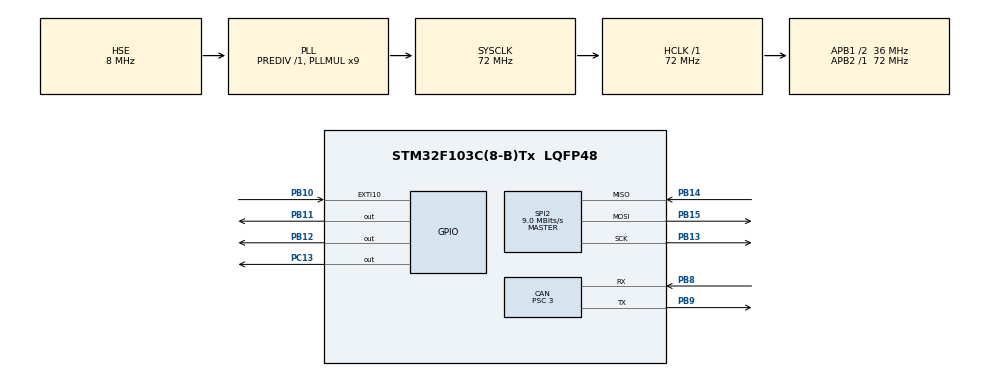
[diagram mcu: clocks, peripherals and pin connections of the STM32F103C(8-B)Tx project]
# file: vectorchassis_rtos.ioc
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CAN.BS1=CAN_BS1_8TQ
CAN.BS2=CAN_BS2_3TQ
CAN.CalculateTimeBit=1000
CAN.CalculateTimeQuantum=83.33333333333334
CAN.Prescaler=3
FREERTOS.Tasks01=nAppTask,8,128,AppTaskCreate,Default,NULL,Dynamic,NULL,NULL
FREERTOS.configTOTAL_HEAP_SIZE=10240
Mcu.Family=STM32F1
Mcu.Name=STM32F103C(8-B)Tx
Mcu.Package=LQFP48
NVIC.EXTI15_10_IRQn=true\:5\:0\:false\:false\:true\:true\:true\:true
NVIC.PriorityGroup=NVIC_PRIORITYGROUP_4
NVIC.TIM4_IRQn=true\:0\:0\:false\:false\:true\:false\:false\:true
NVIC.TimeBase=TIM4_IRQn
NVIC.TimeBaseIP=TIM4
PA13.Mode=Serial_Wire
PA13.Signal=SYS_JTMS-SWDIO
PA14.Mode=Serial_Wire
PA14.Signal=SYS_JTCK-SWCLK
PB10.GPIO_ModeDefaultEXTI=GPIO_MODE_IT_FALLING
PB10.GPIO_PuPd=GPIO_PULLUP
PB10.Signal=GPXTI10
PB11.Signal=GPIO_Output
PB12.Signal=GPIO_Output
PB13.Mode=Full_Duplex_Master
PB13.Signal=SPI2_SCK
PB14.Mode=Full_Duplex_Master
PB14.Signal=SPI2_MISO
PB15.Mode=Full_Duplex_Master
PB15.Signal=SPI2_MOSI
PB8.GPIO_PuPd=GPIO_PULLUP
PB8.Mode=Master
PB8.Signal=CAN_RX
PB9.Mode=Master
PB9.Signal=CAN_TX
PC13-TAMPER-RTC.Signal=GPIO_Output
PD0-OSC_IN.Mode=HSE-External-Oscillator
PD0-OSC_IN.Signal=RCC_OSC_IN
PD1-OSC_OUT.Mode=HSE-External-Oscillator
PD1-OSC_OUT.Signal=RCC_OSC_OUT
ProjectManager.HeapSize=0x200
ProjectManager.StackSize=0x400
ProjectManager.TargetToolchain=MDK-ARM V5.27
RCC.AHBFreq_Value=72000000
RCC.APB1CLKDivider=RCC_HCLK_DIV2
RCC.APB1Freq_Value=36000000
RCC.APB1TimFreq_Value=72000000
RCC.APB2Freq_Value=72000000
RCC.APB2TimFreq_Value=72000000
RCC.HCLKFreq_Value=72000000
RCC.PLLMUL=RCC_PLL_MUL9
RCC.PLLSourceVirtual=RCC_PLLSOURCE_HSE
RCC.SYSCLKFreq_VALUE=72000000
RCC.SYSCLKSource=RCC_SYSCLKSOURCE_PLLCLK
RCC.USBFreq_Value=72000000
SPI2.BaudRatePrescaler=SPI_BAUDRATEPRESCALER_4
SPI2.CalculateBaudRate=9.0 MBits/s
SPI2.Direction=SPI_DIRECTION_2LINES
SPI2.Mode=SPI_MODE_MASTER
SPI2.VirtualType=VM_MASTER
VP_FREERTOS_VS_CMSIS_V2.Mode=CMSIS_V2
VP_SYS_VS_tim4.Mode=TIM4
board=custom

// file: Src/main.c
/* USER CODE BEGIN Header */
/**
  ******************************************************************************
  * @file           : main.c
  * @brief          : Main program body
  ******************************************************************************
  * @attention
  *
  * <h2><center>&copy; Copyright (c) 2020 STMicroelectronics.
  * All rights reserved.</center></h2>
  *
  * This software component is licensed by ST under Ultimate Liberty license
  * SLA0044, the "License"; You may not use this file except in compliance with
  * the License. You may obtain a copy of the License at:
  *                             www.st.com/SLA0044
  *
  *******************************************************************************/

	/*todo list:修改翻翻地盘代码，修改系统时基为TIM1而不用systick�?*/
	//修改寻零的时候记得修�? signal.c中处理can数据的地方，里面的角度是减去
	//模型中vesc驱动轮的线�?�度还没算上轮子的用的也是电角�??
/* USER CODE END Header */

#include "main.h"
#include "cmsis_os.h"
#include "can.h"
#include "spi.h"
#include "gpio.h"

/* USER CODE BEGIN Includes */
#include "vesc.h"
/* USER CODE END Includes */

/* USER CODE BEGIN PTD */
void SetCanFliter(void)
{
  CAN_FilterTypeDef  sFilterConfig;

  sFilterConfig.FilterBank = 0;
  sFilterConfig.FilterMode = CAN_FILTERMODE_IDMASK;
  sFilterConfig.FilterScale = CAN_FILTERSCALE_32BIT;
  sFilterConfig.FilterIdHigh = 0x0000;
  sFilterConfig.FilterIdLow = 0x0000;
  sFilterConfig.FilterMaskIdHigh = 0x0000;
  sFilterConfig.FilterMaskIdLow = 0x0000;
  sFilterConfig.FilterFIFOAssignment = CAN_RX_FIFO0;
  sFilterConfig.FilterActivation = ENABLE;
  sFilterConfig.SlaveStartFilterBank = 14;

  if(HAL_CAN_ConfigFilter(&hcan, &sFilterConfig) != HAL_OK)
  {
    Error_Handler();
  }

  if (HAL_CAN_Start(&hcan) != HAL_OK)
  {
    Error_Handler();
  }

  if (HAL_CAN_ActivateNotification(&hcan, CAN_IT_RX_FIFO0_MSG_PENDING) != HAL_OK)
  {
    Error_Handler();
  }
	if (HAL_CAN_ActivateNotification(&hcan, CAN_IT_RX_FIFO1_MSG_PENDING) != HAL_OK)
  {
    Error_Handler();
  }
}
/* USER CODE END PTD */

void SystemClock_Config(void);
void MX_FREERTOS_Init(void);

int main(void)
{

  /* MCU Configuration--------------------------------------------------------*/

  /* Reset of all peripherals, Initializes the Flash interface and the Systick. */
  HAL_Init();

  /* Configure the system clock */
  SystemClock_Config();

  /* Initialize all configured peripherals */
  MX_GPIO_Init();
  MX_CAN_Init();
  MX_SPI2_Init();
  /* USER CODE BEGIN 2 */
  SetCanFliter();
  /* USER CODE END 2 */
  /* Init scheduler */
  osKernelInitialize();

  /* Call init function for freertos objects (in freertos.c) */
  MX_FREERTOS_Init();

  /* Start scheduler */
  osKernelStart();

  /* We should never get here as control is now taken by the scheduler */

  /* Infinite loop */
  while (1)
  {

  }
}

void SystemClock_Config(void)
{
  RCC_OscInitTypeDef RCC_OscInitStruct = {0};
  RCC_ClkInitTypeDef RCC_ClkInitStruct = {0};

  /** Initializes the CPU, AHB and APB busses clocks
  */
  RCC_OscInitStruct.OscillatorType = RCC_OSCILLATORTYPE_HSE;
  RCC_OscInitStruct.HSEState = RCC_HSE_ON;
  RCC_OscInitStruct.HSEPredivValue = RCC_HSE_PREDIV_DIV1;
  RCC_OscInitStruct.HSIState = RCC_HSI_ON;
  RCC_OscInitStruct.PLL.PLLState = RCC_PLL_ON;
  RCC_OscInitStruct.PLL.PLLSource = RCC_PLLSOURCE_HSE;
  RCC_OscInitStruct.PLL.PLLMUL = RCC_PLL_MUL9;
  if (HAL_RCC_OscConfig(&RCC_OscInitStruct) != HAL_OK)
  {
    Error_Handler();
  }
  /** Initializes the CPU, AHB and APB busses clocks
  */
  RCC_ClkInitStruct.ClockType = RCC_CLOCKTYPE_HCLK|RCC_CLOCKTYPE_SYSCLK
                              |RCC_CLOCKTYPE_PCLK1|RCC_CLOCKTYPE_PCLK2;
  RCC_ClkInitStruct.SYSCLKSource = RCC_SYSCLKSOURCE_PLLCLK;
  RCC_ClkInitStruct.AHBCLKDivider = RCC_SYSCLK_DIV1;
  RCC_ClkInitStruct.APB1CLKDivider = RCC_HCLK_DIV2;
  RCC_ClkInitStruct.APB2CLKDivider = RCC_HCLK_DIV1;

  if (HAL_RCC_ClockConfig(&RCC_ClkInitStruct, FLASH_LATENCY_2) != HAL_OK)
  {
    Error_Handler();
  }
}

void HAL_TIM_PeriodElapsedCallback(TIM_HandleTypeDef *htim)
{
  if (htim->Instance == TIM4) {
    HAL_IncTick();
  }
}

void Error_Handler(void)
{
  /* USER CODE BEGIN Error_Handler_Debug */
  while(1);
  /* User can add his own implementation to report the HAL error return state */

  /* USER CODE END Error_Handler_Debug */
}

/************************ (C) COPYRIGHT STMicroelectronics *****END OF FILE****/

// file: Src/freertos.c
/* USER CODE BEGIN Header */
/**
  ******************************************************************************
  * File Name          : freertos.c
  * Description        : Code for freertos applications
  ******************************************************************************
  * @attention
  *
  * <h2><center>&copy; Copyright (c) 2020 STMicroelectronics.
  * All rights reserved.</center></h2>
  *
  * This software component is licensed by ST under Ultimate Liberty license
  * SLA0044, the "License"; You may not use this file except in compliance with
  * the License. You may obtain a copy of the License at:
  *                             www.st.com/SLA0044
  *
  ******************************************************************************
  */
/* USER CODE END Header */

#include "FreeRTOS.h"
#include "task.h"
#include "main.h"
#include "cmsis_os.h"

/* USER CODE BEGIN Includes */
/* --- task --- */
#include "chassis.h"
#include "emergency.h"
#include "period.h"
#include "command.h"
#include "support.h"
#include "signal.h"
/* --- signal --- */

/* --- user lib --- */
#include "nrf24l01.h"
/* USER CODE END Includes */

/* Definitions for nAppTask */
osThreadId_t nAppTaskHandle;
const osThreadAttr_t nAppTask_attributes = {
  .name = "nAppTask",
  .priority = (osPriority_t) osPriorityLow,
  .stack_size = 128
};

void AppTaskCreate(void *argument);

void MX_FREERTOS_Init(void); /* (MISRA C 2004 rule 8.1) */

void MX_FREERTOS_Init(void) {
  /* USER CODE BEGIN Init */
  chassis_init();
  NRF24L01_Init();/* --- to do list : check false also unblock  --- */
  /* USER CODE END Init */

  /* Create the thread(s) */
  /* creation of nAppTask */
  nAppTaskHandle = osThreadNew(AppTaskCreate, NULL, &nAppTask_attributes);

  /* USER CODE BEGIN RTOS_THREADS */

	/* --- creat other task --- */
  //taskENTER_CRITICAL(); //进入临界
	emergency_init();
	canread_init();
	period_init();
	command_init();
	support_init();
  //taskEXIT_CRITICAL();
  /* add threads, ... */
  /* USER CODE END RTOS_THREADS */

}

void AppTaskCreate(void *argument)
{
  /* USER CODE BEGIN AppTaskCreate */

//	taskENTER_CRITICAL(); //进入临界
//	/* --- creat other task --- */
//	chassis_init();
//	emergency_init();
//	canread_init();
//	period_init();
//	command_init();
//	support_init();
//	//vTaskDelete(AppTaskCreate);
//	taskEXIT_CRITICAL();
  for(;;)
  {
    vTaskDelay(10);
  }
  /* USER CODE END AppTaskCreate */
}

/************************ (C) COPYRIGHT STMicroelectronics *****END OF FILE****/
